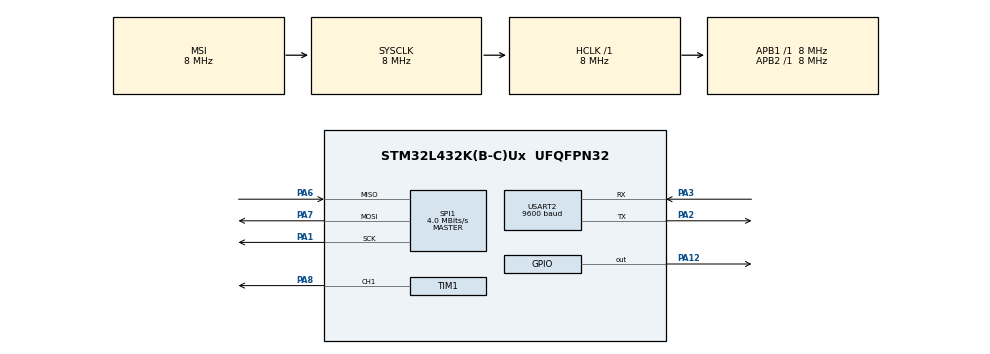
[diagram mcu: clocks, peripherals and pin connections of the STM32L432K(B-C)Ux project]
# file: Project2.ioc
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Mcu.Family=STM32L4
Mcu.Name=STM32L432K(B-C)Ux
Mcu.Package=UFQFPN32
NVIC.PriorityGroup=NVIC_PRIORITYGROUP_4
NVIC.TIM1_CC_IRQn=true\:0\:0\:false\:false\:true\:true\:true
PA1.Mode=Full_Duplex_Master
PA1.Signal=SPI1_SCK
PA12.Signal=GPIO_Output
PA13\ (JTMS-SWDIO).Mode=Serial_Wire
PA13\ (JTMS-SWDIO).Signal=SYS_JTMS-SWDIO
PA14\ (JTCK-SWCLK).Mode=Serial_Wire
PA14\ (JTCK-SWCLK).Signal=SYS_JTCK-SWCLK
PA2.Mode=Asynchronous
PA2.Signal=USART2_TX
PA3.Mode=Asynchronous
PA3.Signal=USART2_RX
PA6.Mode=Full_Duplex_Master
PA6.Signal=SPI1_MISO
PA7.Mode=Full_Duplex_Master
PA7.Signal=SPI1_MOSI
PA8.Signal=S_TIM1_CH1
PC14-OSC32_IN\ (PC14).Mode=LSE-External-Oscillator
PC14-OSC32_IN\ (PC14).Signal=RCC_OSC32_IN
PC15-OSC32_OUT\ (PC15).Mode=LSE-External-Oscillator
PC15-OSC32_OUT\ (PC15).Signal=RCC_OSC32_OUT
ProjectManager.HeapSize=0x200
ProjectManager.StackSize=0x400
ProjectManager.TargetToolchain=MDK-ARM V5.27
RCC.ADCFreq_Value=32000000
RCC.AHBFreq_Value=8000000
RCC.APB1Freq_Value=8000000
RCC.APB1TimFreq_Value=8000000
RCC.APB2Freq_Value=8000000
RCC.APB2TimFreq_Value=8000000
RCC.CortexFreq_Value=8000000
RCC.HCLKFreq_Value=8000000
RCC.HSE_VALUE=8000000
RCC.HSI48_VALUE=48000000
RCC.HSI_VALUE=16000000
RCC.MSIClockRange=RCC_MSIRANGE_7
RCC.MSI_VALUE=8000000
RCC.SYSCLKFreq_VALUE=8000000
RCC.USBFreq_Value=32000000
RCC.VCOOutputFreq_Value=64000000
SH.S_TIM1_CH1.0=TIM1_CH1,PWM Generation1 CH1
SPI1.CalculateBaudRate=4.0 MBits/s
SPI1.DataSize=SPI_DATASIZE_16BIT
SPI1.Direction=SPI_DIRECTION_2LINES
SPI1.Mode=SPI_MODE_MASTER
SPI1.VirtualType=VM_MASTER
TIM1.Channel-PWM\ Generation1\ CH1=TIM_CHANNEL_1
TIM1.Period=60
TIM1.Prescaler=3
USART2.BaudRate=9600
USART2.VirtualMode-Asynchronous=VM_ASYNC
VP_TIM1_VS_ClockSourceINT.Mode=Internal
board=custom

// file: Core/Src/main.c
/* USER CODE BEGIN Header */
/**
  ******************************************************************************
  * @file           : main.c
  * @brief          : Main program body
  ******************************************************************************
  * @attention
  *
  * <h2><center>&copy; Copyright (c) 2021 STMicroelectronics.
  * All rights reserved.</center></h2>
  *
  * This software component is licensed by ST under BSD 3-Clause license,
  * the "License"; You may not use this file except in compliance with the
  * License. You may obtain a copy of the License at:
  *                        opensource.org/licenses/BSD-3-Clause
  *
  ******************************************************************************
  */
/* USER CODE END Header */
#include "main.h"

/* USER CODE BEGIN Includes */
#include <stdio.h>
#include <string.h>
#include <stdlib.h>
/* USER CODE END Includes */

SPI_HandleTypeDef hspi1;

TIM_HandleTypeDef htim1;

UART_HandleTypeDef huart2;

void SystemClock_Config(void);
static void MX_GPIO_Init(void);
static void MX_SPI1_Init(void);
static void MX_TIM1_Init(void);
static void MX_USART2_UART_Init(void);
/* USER CODE BEGIN PFP */
void resetSensor(void)
{

  hspi1.Init.CLKPolarity       = SPI_POLARITY_LOW;
  hspi1.Init.CLKPhase          = SPI_PHASE_1EDGE;
  hspi1.Init.TIMode            = SPI_TIMODE_DISABLE;
  HAL_SPI_Init(&hspi1);

  // Reset MS5540C Sensor
  uint32_t resetBuffer[2] = {0x0015, 0x5540};
  HAL_SPI_Transmit(&hspi1, (uint8_t *) resetBuffer, 2, 5000);

  // Set TI mode
  hspi1.Init.TIMode= SPI_TIMODE_ENABLE;
  HAL_SPI_Init(&hspi1);
}
/* USER CODE END PFP */

int main(void)
{

  /* MCU Configuration--------------------------------------------------------*/

  /* Reset of all peripherals, Initializes the Flash interface and the Systick. */
  HAL_Init();

  /* Configure the system clock */
  SystemClock_Config();

  /* Initialize all configured peripherals */
  MX_GPIO_Init();
  MX_SPI1_Init();
  MX_TIM1_Init();
  MX_USART2_UART_Init();
  /* USER CODE BEGIN 2 */
	HAL_TIM_PWM_Start(&htim1, TIM_CHANNEL_1);
	__HAL_TIM_SET_COMPARE(&htim1,TIM_CHANNEL_1,29);

	int counter=0;
	double PressureInitial;
	double PressureDiff;
	double CurrentDepth;
  /* USER CODE END 2 */

  /* Infinite loop */
  while (1)
  {

    /* USER CODE BEGIN 3 */

	uint16_t txBuffer;
  uint16_t rxBuffer;

	//Note: The MS5540C device does not have a CS signal. Instead there is  a START sequence (3-bit high) before each SETUP sequence and a STOP sequence (3-bit low) after each SETUP sequence.

  resetSensor();

  //2- Read calibration data (factory calibrated) from PROM of MS5540C
  uint16_t word1, word2, word3, word4;
  /* Get Calibration word 1 */
  txBuffer = 0x1D50;
  rxBuffer = 0;
  HAL_SPI_Transmit(&hspi1, (uint8_t *) &txBuffer, 1, 5000);
  txBuffer = 0;
  HAL_SPI_TransmitReceive(&hspi1, (uint8_t *) &txBuffer, (uint8_t *) &rxBuffer, 1, 5000);
  word1 = rxBuffer;

  resetSensor();

  /* Get Calibration word 2 */
  txBuffer = 0x1D60;
  rxBuffer = 0;
  HAL_SPI_Transmit(&hspi1, (uint8_t *) &txBuffer, 1, 5000);
  txBuffer = 0;
  HAL_SPI_TransmitReceive(&hspi1, (uint8_t *) &txBuffer, (uint8_t *) &rxBuffer, 1, 5000);
  word2 = rxBuffer;

  resetSensor();

  //Get Calibration word 3
  txBuffer = 0x1D90;
  rxBuffer = 0;
  HAL_SPI_Transmit(&hspi1, (uint8_t *) &txBuffer, 1, 5000);
  txBuffer = 0;
  HAL_SPI_TransmitReceive(&hspi1, (uint8_t *) &txBuffer, (uint8_t *) &rxBuffer, 1, 5000);
  word3 = rxBuffer;

  resetSensor();

  //Get Calibration word 4
  txBuffer = 0x1DA0;
  rxBuffer = 0;
  HAL_SPI_Transmit(&hspi1, (uint8_t *) &txBuffer, 1, 5000);
  txBuffer = 0;
  HAL_SPI_TransmitReceive(&hspi1, (uint8_t *) &txBuffer, (uint8_t *) &rxBuffer, 1, 5000);
  word4 = rxBuffer;

	//Step 3
  //Convert calibration data into coefficients
  uint16_t c1 = (word1 >> 1) & 0x7FFF; // Pressure sensitivity
  uint16_t c2 = ((word3 & 0x003F) << 6) | (word4 & 0x003F); // Pressure offset
  uint16_t c3 = (word4 >> 6) & 0x03FF;
  uint16_t c4 = (word3 >> 6) & 0x03FF;
  uint16_t c5 = ((word1 & 0x0001) << 10) | ((word2 >> 6) & 0x03FF);
  uint16_t c6 = word2 & 0x003F;

  resetSensor();
  hspi1.Init.CLKPhase          = SPI_PHASE_1EDGE;
  hspi1.Init.TIMode            = SPI_TIMODE_DISABLE;
  HAL_SPI_Init(&hspi1);

  /*##-4- Read digital pressure value from MS5540C ###########################*/
  // TODO: Send reset (it is recommended to send a reset before each conversion)
  txBuffer = 0x0F40;
  rxBuffer = 0;
  HAL_SPI_Transmit(&hspi1, (uint8_t *) &txBuffer, 1, 5000);
  HAL_Delay(36); // wait for end of conversion (can be an interrupt on MISO)
  txBuffer = 0;
  HAL_SPI_TransmitReceive(&hspi1, (uint8_t *) &txBuffer, (uint8_t *) &rxBuffer, 1, 5000);
  uint16_t d1 = (rxBuffer << 1) & 0xFFFF;

  resetSensor();
  hspi1.Init.CLKPhase          = SPI_PHASE_1EDGE;
  hspi1.Init.TIMode            = SPI_TIMODE_DISABLE;
  HAL_SPI_Init(&hspi1);

  // Step 5
	//	Read digital temperature value from MS5540C
  txBuffer = 0x0F20;
  rxBuffer = 0;
  HAL_SPI_Transmit(&hspi1, (uint8_t *) &txBuffer, 1, 5000);
  HAL_Delay(36); // wait for end of conversion (can be an interrupt on MISO)
  txBuffer = 0;
  HAL_SPI_TransmitReceive(&hspi1, (uint8_t *) &txBuffer, (uint8_t *) &rxBuffer, 1, 5000);
  // uint16_t d2 = rxBuffer;
  uint16_t d2 = (rxBuffer << 1) & 0xFFFF;

  /* Calculate calibration temperature */
  int32_t ut1 = 8 * c5 + 20224;

  /* Calculate actual temperature */
  int32_t dT = d2 - ut1;
  double temperature = (200 + ((dT * (c6 + 50)) >> 10)) / 10.0;

  /* Calculate pressure offset at actual temperature */
  int32_t offset = (c2 * 4) + (((c4 - 512) * dT) >> 12);
  /* Calculate pressure sensitivity at actual temperature */
  int32_t sensitivity = c1 + ((c3 * dT) >> 10) + 24576;
  int32_t x = (sensitivity * (d1 - 7168) >> 14) - offset;
  /* Calibration temperature compensated pressure */
  double pressure = (((x * 10) >> 5) + 2500) / 10.0;

	//To ensure that the Intial pressure reading wasn't a fluke
	if(counter==0)
	{
		PressureInitial=pressure;

	}
	if(counter==1)
	{
		double ErrorPressureInitial=PressureInitial-pressure;
		if(abs(ErrorPressureInitial)>1) //if differance between first and second pressure readings were not very big
			counter=0; //reset counter to 0 and don't start calculating the water depth until a valid inital pressure value is taken
		else
			{
				PressureInitial=pressure; //if valid initial pressure value(referance pressure) is taken
				counter++; // increment counter
			}
	}
	else
		counter++;

	if(counter>=2)
	{
	PressureDiff=abs(pressure-PressureInitial)*100; //convertion into pascal
	CurrentDepth=PressureDiff/(1000*9.81); //Current Depth in Metres
	CurrentDepth=CurrentDepth*100; //Convert depth to cm

	//For Debugging purposes
	/*uint8_t out[10];
	sprintf((char  *)out,"%f",pressure);
	HAL_UART_Transmit(&huart2, "pressure is now ",sizeof("pressure is now "),200);
	HAL_UART_Transmit(&huart2, out,sizeof(out),200);
	HAL_UART_Transmit(&huart2, "\n",sizeof("\n"),200);
	HAL_UART_Transmit(&huart2, "\r",sizeof("\r"),200);
	*/

	uint8_t out2[10];
	int depth=(int)CurrentDepth;//for removing decimal places from CurrentDepth
	sprintf((char  *)out2,"%d",depth);

	HAL_UART_Transmit(&huart2, out2,sizeof(out2),200); //transmit the depth to teraterm
	HAL_UART_Transmit(&huart2, "\r",sizeof("\r"),200);
	HAL_UART_Transmit(&huart2, "\n",sizeof("\n"),200); // to end line

	if(depth<=2) //if depth goes below 2 cm
		HAL_GPIO_WritePin(GPIOA, GPIO_PIN_12, 0); //Turn on alarm
	else
		HAL_GPIO_WritePin(GPIOA, GPIO_PIN_12, 1);//Turn off alarm
	}

  }
  /* USER CODE END 3 */
}

void SystemClock_Config(void)
{
  RCC_OscInitTypeDef RCC_OscInitStruct = {0};
  RCC_ClkInitTypeDef RCC_ClkInitStruct = {0};
  RCC_PeriphCLKInitTypeDef PeriphClkInit = {0};

  /** Configure LSE Drive Capability
  */
  HAL_PWR_EnableBkUpAccess();
  __HAL_RCC_LSEDRIVE_CONFIG(RCC_LSEDRIVE_LOW);
  /** Initializes the RCC Oscillators according to the specified parameters
  * in the RCC_OscInitTypeDef structure.
  */
  RCC_OscInitStruct.OscillatorType = RCC_OSCILLATORTYPE_LSE|RCC_OSCILLATORTYPE_MSI;
  RCC_OscInitStruct.LSEState = RCC_LSE_ON;
  RCC_OscInitStruct.MSIState = RCC_MSI_ON;
  RCC_OscInitStruct.MSICalibrationValue = 0;
  RCC_OscInitStruct.MSIClockRange = RCC_MSIRANGE_7;
  RCC_OscInitStruct.PLL.PLLState = RCC_PLL_NONE;
  if (HAL_RCC_OscConfig(&RCC_OscInitStruct) != HAL_OK)
  {
    Error_Handler();
  }
  /** Initializes the CPU, AHB and APB buses clocks
  */
  RCC_ClkInitStruct.ClockType = RCC_CLOCKTYPE_HCLK|RCC_CLOCKTYPE_SYSCLK
                              |RCC_CLOCKTYPE_PCLK1|RCC_CLOCKTYPE_PCLK2;
  RCC_ClkInitStruct.SYSCLKSource = RCC_SYSCLKSOURCE_MSI;
  RCC_ClkInitStruct.AHBCLKDivider = RCC_SYSCLK_DIV1;
  RCC_ClkInitStruct.APB1CLKDivider = RCC_HCLK_DIV1;
  RCC_ClkInitStruct.APB2CLKDivider = RCC_HCLK_DIV1;

  if (HAL_RCC_ClockConfig(&RCC_ClkInitStruct, FLASH_LATENCY_0) != HAL_OK)
  {
    Error_Handler();
  }
  PeriphClkInit.PeriphClockSelection = RCC_PERIPHCLK_USART2;
  PeriphClkInit.Usart2ClockSelection = RCC_USART2CLKSOURCE_PCLK1;
  if (HAL_RCCEx_PeriphCLKConfig(&PeriphClkInit) != HAL_OK)
  {
    Error_Handler();
  }
  /** Configure the main internal regulator output voltage
  */
  if (HAL_PWREx_ControlVoltageScaling(PWR_REGULATOR_VOLTAGE_SCALE1) != HAL_OK)
  {
    Error_Handler();
  }
  /** Enable MSI Auto calibration
  */
  HAL_RCCEx_EnableMSIPLLMode();
}

static void MX_SPI1_Init(void)
{

  /* SPI1 parameter configuration*/
  hspi1.Instance = SPI1;
  hspi1.Init.Mode = SPI_MODE_MASTER;
  hspi1.Init.Direction = SPI_DIRECTION_2LINES;
  hspi1.Init.DataSize = SPI_DATASIZE_16BIT;
  hspi1.Init.CLKPolarity = SPI_POLARITY_LOW;
  hspi1.Init.CLKPhase = SPI_PHASE_1EDGE;
  hspi1.Init.NSS = SPI_NSS_SOFT;
  hspi1.Init.BaudRatePrescaler = SPI_BAUDRATEPRESCALER_2;
  hspi1.Init.FirstBit = SPI_FIRSTBIT_MSB;
  hspi1.Init.TIMode = SPI_TIMODE_DISABLE;
  hspi1.Init.CRCCalculation = SPI_CRCCALCULATION_DISABLE;
  hspi1.Init.CRCPolynomial = 7;
  hspi1.Init.CRCLength = SPI_CRC_LENGTH_DATASIZE;
  hspi1.Init.NSSPMode = SPI_NSS_PULSE_ENABLE;
  if (HAL_SPI_Init(&hspi1) != HAL_OK)
  {
    Error_Handler();
  }

}

static void MX_TIM1_Init(void)
{

  TIM_ClockConfigTypeDef sClockSourceConfig = {0};
  TIM_MasterConfigTypeDef sMasterConfig = {0};
  TIM_OC_InitTypeDef sConfigOC = {0};
  TIM_BreakDeadTimeConfigTypeDef sBreakDeadTimeConfig = {0};

  htim1.Instance = TIM1;
  htim1.Init.Prescaler = 3;
  htim1.Init.CounterMode = TIM_COUNTERMODE_UP;
  htim1.Init.Period = 60;
  htim1.Init.ClockDivision = TIM_CLOCKDIVISION_DIV1;
  htim1.Init.RepetitionCounter = 0;
  htim1.Init.AutoReloadPreload = TIM_AUTORELOAD_PRELOAD_DISABLE;
  if (HAL_TIM_Base_Init(&htim1) != HAL_OK)
  {
    Error_Handler();
  }
  sClockSourceConfig.ClockSource = TIM_CLOCKSOURCE_INTERNAL;
  if (HAL_TIM_ConfigClockSource(&htim1, &sClockSourceConfig) != HAL_OK)
  {
    Error_Handler();
  }
  if (HAL_TIM_PWM_Init(&htim1) != HAL_OK)
  {
    Error_Handler();
  }
  sMasterConfig.MasterOutputTrigger = TIM_TRGO_RESET;
  sMasterConfig.MasterOutputTrigger2 = TIM_TRGO2_RESET;
  sMasterConfig.MasterSlaveMode = TIM_MASTERSLAVEMODE_DISABLE;
  if (HAL_TIMEx_MasterConfigSynchronization(&htim1, &sMasterConfig) != HAL_OK)
  {
    Error_Handler();
  }
  sConfigOC.OCMode = TIM_OCMODE_PWM1;
  sConfigOC.Pulse = 0;
  sConfigOC.OCPolarity = TIM_OCPOLARITY_HIGH;
  sConfigOC.OCNPolarity = TIM_OCNPOLARITY_HIGH;
  sConfigOC.OCFastMode = TIM_OCFAST_DISABLE;
  sConfigOC.OCIdleState = TIM_OCIDLESTATE_RESET;
  sConfigOC.OCNIdleState = TIM_OCNIDLESTATE_RESET;
  if (HAL_TIM_PWM_ConfigChannel(&htim1, &sConfigOC, TIM_CHANNEL_1) != HAL_OK)
  {
    Error_Handler();
  }
  sBreakDeadTimeConfig.OffStateRunMode = TIM_OSSR_DISABLE;
  sBreakDeadTimeConfig.OffStateIDLEMode = TIM_OSSI_DISABLE;
  sBreakDeadTimeConfig.LockLevel = TIM_LOCKLEVEL_OFF;
  sBreakDeadTimeConfig.DeadTime = 0;
  sBreakDeadTimeConfig.BreakState = TIM_BREAK_DISABLE;
  sBreakDeadTimeConfig.BreakPolarity = TIM_BREAKPOLARITY_HIGH;
  sBreakDeadTimeConfig.BreakFilter = 0;
  sBreakDeadTimeConfig.Break2State = TIM_BREAK2_DISABLE;
  sBreakDeadTimeConfig.Break2Polarity = TIM_BREAK2POLARITY_HIGH;
  sBreakDeadTimeConfig.Break2Filter = 0;
  sBreakDeadTimeConfig.AutomaticOutput = TIM_AUTOMATICOUTPUT_DISABLE;
  if (HAL_TIMEx_ConfigBreakDeadTime(&htim1, &sBreakDeadTimeConfig) != HAL_OK)
  {
    Error_Handler();
  }
  HAL_TIM_MspPostInit(&htim1);

}

static void MX_USART2_UART_Init(void)
{

  huart2.Instance = USART2;
  huart2.Init.BaudRate = 9600;
  huart2.Init.WordLength = UART_WORDLENGTH_8B;
  huart2.Init.StopBits = UART_STOPBITS_1;
  huart2.Init.Parity = UART_PARITY_NONE;
  huart2.Init.Mode = UART_MODE_TX_RX;
  huart2.Init.HwFlowCtl = UART_HWCONTROL_NONE;
  huart2.Init.OverSampling = UART_OVERSAMPLING_16;
  huart2.Init.OneBitSampling = UART_ONE_BIT_SAMPLE_DISABLE;
  huart2.AdvancedInit.AdvFeatureInit = UART_ADVFEATURE_NO_INIT;
  if (HAL_UART_Init(&huart2) != HAL_OK)
  {
    Error_Handler();
  }

}

static void MX_GPIO_Init(void)
{
  GPIO_InitTypeDef GPIO_InitStruct = {0};

  /* GPIO Ports Clock Enable */
  __HAL_RCC_GPIOC_CLK_ENABLE();
  __HAL_RCC_GPIOA_CLK_ENABLE();

  /*Configure GPIO pin Output Level */
  HAL_GPIO_WritePin(GPIOA, GPIO_PIN_12, GPIO_PIN_RESET);

  /*Configure GPIO pin : PA12 */
  GPIO_InitStruct.Pin = GPIO_PIN_12;
  GPIO_InitStruct.Mode = GPIO_MODE_OUTPUT_PP;
  GPIO_InitStruct.Pull = GPIO_NOPULL;
  GPIO_InitStruct.Speed = GPIO_SPEED_FREQ_LOW;
  HAL_GPIO_Init(GPIOA, &GPIO_InitStruct);

}

void Error_Handler(void)
{
  __disable_irq();
  while (1)
  {
  }
}

/************************ (C) COPYRIGHT STMicroelectronics *****END OF FILE****/
